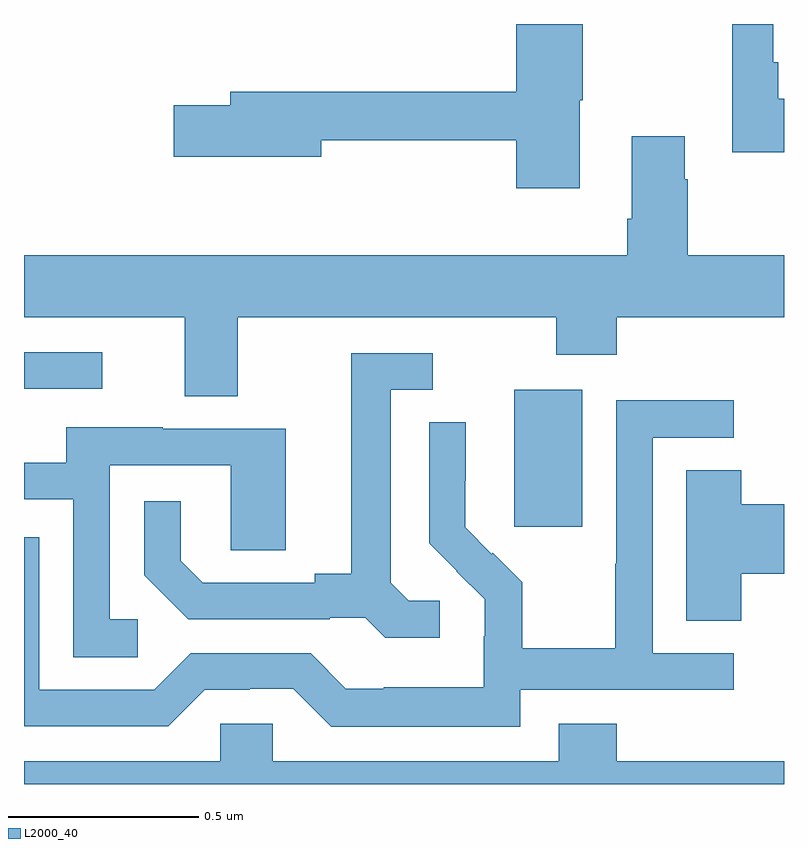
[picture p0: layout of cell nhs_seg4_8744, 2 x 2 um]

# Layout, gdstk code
import gdstk
lib = gdstk.Library(unit=1e-6, precision=1e-09)
def R(c, l, rs):  # rectangles x0, y0, x1, y1
    for r in rs: c.add(gdstk.rectangle(r[:2], r[2:], *l))
def P(c, l, *ps):  # polygons
    for p in ps: c.add(gdstk.Polygon(p, *l))
L2000_40 = (2000, 40)

nhs_seg4_8744 = lib.new_cell('nhs_seg4_8744')
R(nhs_seg4_8744, L2000_40, [(219.29,821.577,219.469,821.938), (218,821.94,218.206,822.036)])
P(nhs_seg4_8744, L2000_40, [(219.463,822.699),(219.471,822.699),(219.471,822.9),(219.296,822.9),(219.296,822.722),(218.543,822.722),(218.543,822.686),(218.394,822.686),(218.394,822.551),(218.782,822.551),(218.782,822.594),(219.296,822.594),(219.296,822.468),(219.463,822.468)],
  [(220,822.703),(219.985,822.703),(219.985,822.799),(219.972,822.799),(219.972,822.9),(219.864,822.9),(219.864,822.563),(220,822.563)],
  [(218.563,822.128),(219.4,822.128),(219.4,822.029),(219.56,822.029),(219.56,822.128),(220,822.128),(220,822.292),(219.747,822.292),(219.747,822.491),(219.739,822.491),(219.739,822.604),(219.599,822.604),(219.599,822.388),(219.587,822.388),(219.587,822.292),(218,822.292),(218,822.128),(218.423,822.128),(218.423,821.92),(218.563,821.92)],
  [(219.094,821.382),(219.012,821.382),(218.965,821.429),(218.965,821.937),(219.076,821.937),(219.076,822.033),(218.861,822.033),(218.861,821.453),(218.765,821.453),(218.765,821.43),(218.47,821.43),(218.413,821.487),(218.413,821.644),(218.316,821.644),(218.316,821.45),(218.432,821.334),(218.804,821.334),(218.804,821.337),(218.898,821.337),(218.95,821.285),(219.094,821.285)],
  [(219.306,821.148),(219.868,821.148),(219.868,821.244),(219.654,821.244),(219.654,821.811),(219.868,821.811),(219.868,821.91),(219.558,821.91),(219.558,821.48),(219.556,821.48),(219.556,821.257),(219.311,821.257),(219.311,821.431),(219.234,821.508),(219.231,821.505),(219.161,821.576),(219.161,821.698),(219.162,821.698),(219.162,821.852),(219.066,821.852),(219.066,821.534),(219.139,821.461),(219.138,821.46),(219.212,821.386),(219.212,821.289),(219.21,821.289),(219.21,821.155),(218.947,821.155),(218.947,821.151),(218.847,821.151),(218.754,821.244),(218.439,821.244),(218.343,821.148),(218.04,821.148),(218.04,821.55),(218,821.55),(218,821.052),(218.379,821.052),(218.475,821.148),(218.594,821.148),(218.594,821.151),(218.709,821.151),(218.809,821.051),(219.306,821.051)],
  [(218.299,821.334),(218.226,821.334),(218.226,821.739),(218.544,821.739),(218.544,821.515),(218.689,821.515),(218.689,821.835),(218.365,821.835),(218.365,821.839),(218.111,821.839),(218.111,821.745),(218,821.745),(218,821.649),(218.13,821.649),(218.13,821.233),(218.299,821.233)],
  [(219.887,821.453),(220,821.453),(220,821.636),(219.887,821.636),(219.887,821.726),(219.743,821.726),(219.743,821.329),(219.887,821.329)],
  [(220,820.96),(219.56,820.96),(219.56,821.059),(219.407,821.059),(219.407,820.96),(218.655,820.96),(218.655,821.058),(218.517,821.058),(218.517,820.96),(218,820.96),(218,820.9),(220,820.9)])

lib.write_gds('nhs_seg4_8744.gds')
